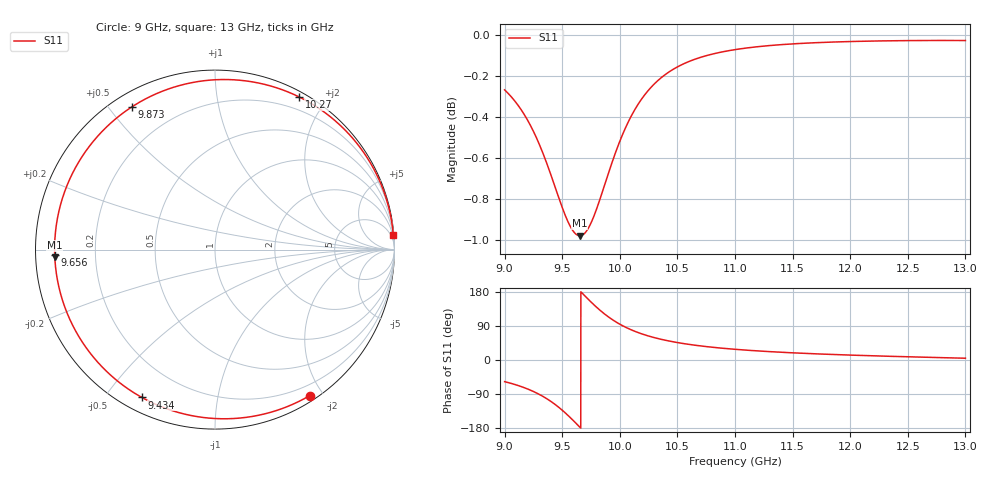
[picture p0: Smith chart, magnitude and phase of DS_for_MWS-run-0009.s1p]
! TOUCHSTONE file generated by CST DESIGN STUDIO
! Date and time: Tue Feb  4 17:08:17 2025
! Project name: C:\Work\MatlabApps\UnitCellOptimizationMatlab\CST\unitcell.cst
! Tree item: Tasks\Sweep1\SPara1\S-Parameters
! Header version: 2024
! Port assignment regex: !\s*Touchstone port\s*([0-9]+)\s*=\s*(CST MWS port|CST DES external port|CST DES block port)\s*(.+)\s* \(\"(.*)\"\)(\s*mode\s*([0-9]+))?.*
! Touchstone port assignment:
! Touchstone port 1 = CST DES external port 1 ("")
# GHz S MA R 50
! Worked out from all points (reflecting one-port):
!   4001 points, 9 GHz to 13 GHz, reference 50 ohm
!   lowest |S11| = -1.0 dB at 9.653 GHz (marker M1), VSWR 17.80, Z = 2.81 - j1.2 ohm
!   phase of S11 starts at -57 deg and turns -298 deg over the sweep
!   S11 on the Smith chart (normalised r, x): 9 GHz: 0.07, -1.84; 9.434 GHz: 0.06, -0.62; 9.656 GHz: 0.06, -0.02; 9.873 GHz: 0.06, +0.57; 10.27 GHz: 0.06, +1.69; 13 GHz: 1, +24
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9  0.9696 -57.1
9.111  0.9618 -66.7
9.221  0.9509 -79.2
9.339  0.9349 -97.2
9.388  0.9269 -106.4
9.434  0.9191 -116.3
9.5  0.9079 -132.4
9.541  0.9018 -143.6
9.583  0.897 -155.8
9.619  0.8944 -166.7
9.653  0.8936 -177.3
9.656  0.8936 -178.2
9.702  0.8953 167.5
9.75  0.9 153.0
9.812  0.9093 135.5
9.873  0.9203 120.1
9.933  0.9311 107.0
10  0.9421 94.5
10.131  0.959 75.6
10.274  0.9712 61.1
10.38  0.9773 53.1
10.5  0.9822 46.0
10.719  0.9878 36.5
11  0.9917 28.2
11.5  0.9949 18.9
12  0.9962 12.9
12.5  0.9967 8.5
13  0.9968 4.7
